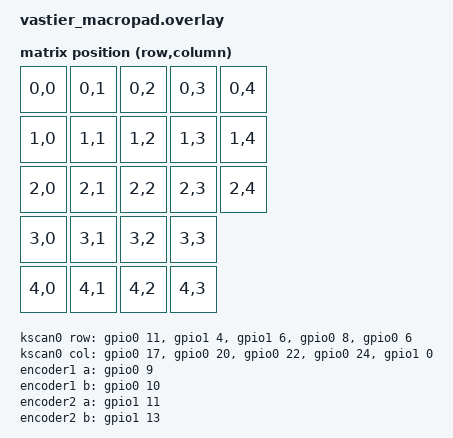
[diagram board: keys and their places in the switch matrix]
#include <dt-bindings/zmk/matrix_transform.h>
#include "vastier_macropad-layouts.dtsi"

/ {
    chosen {
        zmk,kscan = &kscan0;
        zmk,matrix_transform = &matrix_transform0;
        zmk,physical-layout = &physical_layout0;
    };

    // 5x5 matrix, 2 empty slots (RC(3,4) and RC(4,4)) excluded from transform
    // Total: 23 mapped keys
    matrix_transform0: matrix_transform_0 {
        compatible = "zmk,matrix-transform";
        columns = <5>;
        rows = <5>;
        map = <
        //  Col1      Col2      Col3      Col4      Col5
            RC(0,0)   RC(0,1)   RC(0,2)   RC(0,3)   RC(0,4)  // Row 1: Keys 1-5
            RC(1,0)   RC(1,1)   RC(1,2)   RC(1,3)   RC(1,4)  // Row 2: Keys 6-10
            RC(2,0)   RC(2,1)   RC(2,2)   RC(2,3)   RC(2,4)  // Row 3: Keys 11-15
            RC(3,0)   RC(3,1)   RC(3,2)   RC(3,3)            // Row 4: Tip Ring Enc1SW Enc2SW
            RC(4,0)   RC(4,1)   RC(4,2)   RC(4,3)            // Row 5: Pedal 1-4
        >;
    };

    kscan0: kscan {
        compatible = "zmk,kscan-gpio-matrix";
        diode-direction = "col2row";

        // Rows are read (input with pull-down)
        row-gpios
            = <&gpio0 11 (GPIO_ACTIVE_HIGH | GPIO_PULL_DOWN)>  /* Row 1 - D7  P0.11 */
            , <&gpio1 4  (GPIO_ACTIVE_HIGH | GPIO_PULL_DOWN)>  /* Row 2 - D8  P1.04 */
            , <&gpio1 6  (GPIO_ACTIVE_HIGH | GPIO_PULL_DOWN)>  /* Row 3 - D9  P1.06 */
            , <&gpio0 8  (GPIO_ACTIVE_HIGH | GPIO_PULL_DOWN)>  /* Row 4 - D0  P0.08 */
            , <&gpio0 6  (GPIO_ACTIVE_HIGH | GPIO_PULL_DOWN)>  /* Row 5 - D1  P0.06 */
            ;

        // Columns are driven (output)
        col-gpios
            = <&gpio0 17 GPIO_ACTIVE_HIGH>  /* Col 1 - D2  P0.17 */
            , <&gpio0 20 GPIO_ACTIVE_HIGH>  /* Col 2 - D3  P0.20 */
            , <&gpio0 22 GPIO_ACTIVE_HIGH>  /* Col 3 - D4  P0.22 */
            , <&gpio0 24 GPIO_ACTIVE_HIGH>  /* Col 4 - D5  P0.24 */
            , <&gpio1 0  GPIO_ACTIVE_HIGH>  /* Col 5 - D6  P1.00 */
            ;
    };

    sensors: sensors {
        compatible = "zmk,keymap-sensors";
        sensors = <&encoder1 &encoder2>;
        triggers-per-rotation = <20>;
    };

    encoder1: encoder_1 {
        compatible = "alps,ec11";
        a-gpios = <&gpio0 9  (GPIO_ACTIVE_HIGH | GPIO_PULL_UP)>;  /* D10 P0.09 */
        b-gpios = <&gpio0 10 (GPIO_ACTIVE_HIGH | GPIO_PULL_UP)>;  /* D16 P0.10 */
        steps = <80>;
        status = "okay";
    };

    encoder2: encoder_2 {
        compatible = "alps,ec11";
        a-gpios = <&gpio1 11 (GPIO_ACTIVE_HIGH | GPIO_PULL_UP)>;  /* D14 P1.11 */
        b-gpios = <&gpio1 13 (GPIO_ACTIVE_HIGH | GPIO_PULL_UP)>;  /* D15 P1.13 */
        steps = <80>;
        status = "okay";
    };
};
